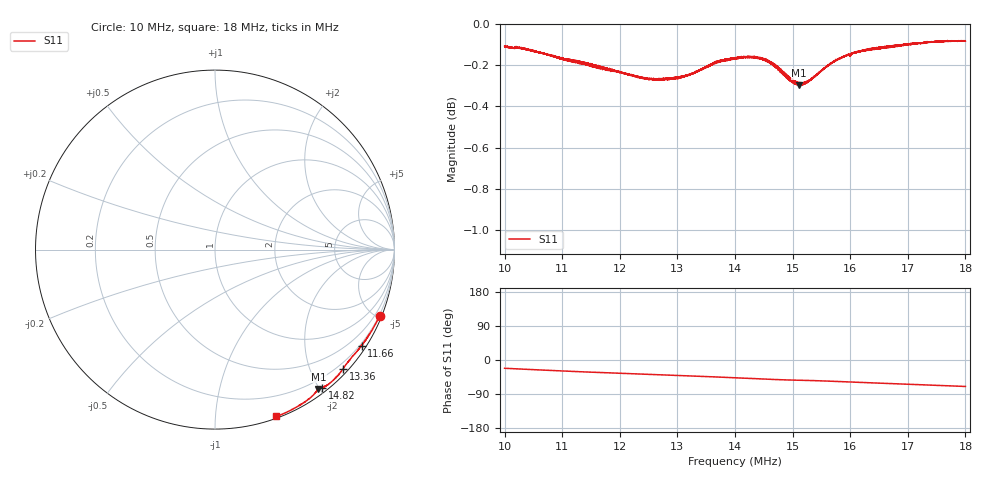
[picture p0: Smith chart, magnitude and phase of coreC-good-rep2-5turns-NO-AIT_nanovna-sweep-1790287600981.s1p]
! NanoVNA Web complex sweep
! Processing: unaveraged complex samples; linear segment spacing; no smoothing
# Hz S RI R 50
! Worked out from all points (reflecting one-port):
!   10100 points, 10 MHz to 18 MHz, reference 50 ohm
!   lowest |S11| = -0.3 dB at 15.11 MHz (marker M1), VSWR 58.35, Z = 4.24 - j99.2 ohm
!   phase of S11 starts at -22 deg and turns -48 deg over the sweep
!   S11 on the Smith chart (normalised r, x): 10 MHz: 0.17, -5.18; 11.66 MHz: 0.15, -3.35; 13.36 MHz: 0.10, -2.54; 14.82 MHz: 0.07, -2.04; 18 MHz: 0.01, -1.43
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1e7  0.9168 -0.3674
1.003802e7  0.9148 -0.3715
1.036749e7  0.8973 -0.4089
1.068666e7  0.8786 -0.4426
1.10003e7  0.8591 -0.4739
1.134244e7  0.8377 -0.5063
1.165924e7  0.817 -0.5344
1.19998e7  0.7946 -0.5627
1.246391e7  0.7641 -0.5969
1.30001e7  0.7337 -0.636
1.336046e7  0.714 -0.6629
1.364874e7  0.6963 -0.6874
1.39996e7  0.6705 -0.7166
1.424116e7  0.6512 -0.7351
1.449935e7  0.6276 -0.7536
1.466884e7  0.612 -0.763
1.482486e7  0.5959 -0.7685
1.49991e7  0.5826 -0.7733
1.511157e7  0.5758 -0.776
1.530402e7  0.5674 -0.786
1.553291e7  0.5563 -0.801
1.574279e7  0.5419 -0.8165
1.59994e7  0.5209 -0.8327
1.638906e7  0.4878 -0.8573
1.69989e7  0.434 -0.8886
1.752954e7  0.3856 -0.9121
1.796118e7  0.3452 -0.9284
1.799841e7  0.3416 -0.9298
